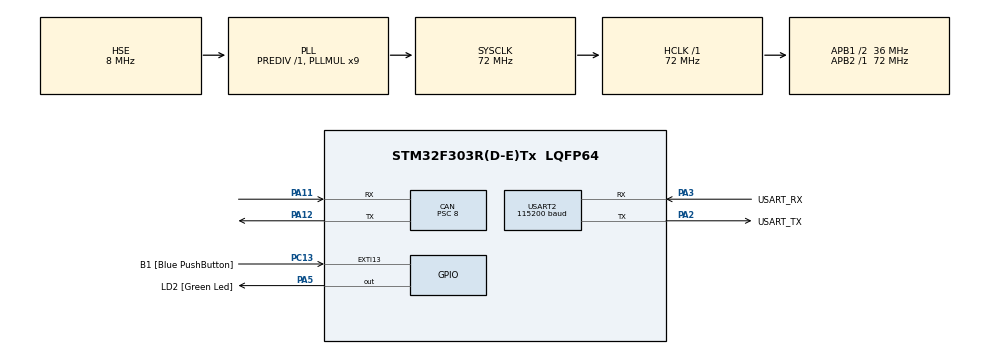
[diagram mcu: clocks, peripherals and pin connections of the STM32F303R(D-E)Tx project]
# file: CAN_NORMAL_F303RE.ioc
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CAN.BS1=CAN_BS1_12TQ
CAN.BS2=CAN_BS2_5TQ
CAN.CalculateBaudRate=250000
CAN.CalculateTimeBit=4000
CAN.CalculateTimeQuantum=222.22222222222223
CAN.Prescaler=8
CAN.SJW=CAN_SJW_1TQ
Mcu.Family=STM32F3
Mcu.Name=STM32F303R(D-E)Tx
Mcu.Package=LQFP64
NVIC.EXTI15_10_IRQn=true\:0\:0\:false\:false\:true\:true\:true\:true
NVIC.PriorityGroup=NVIC_PRIORITYGROUP_0
NVIC.USB_LP_CAN_RX0_IRQn=true\:0\:0\:false\:false\:true\:true\:true\:true
PA11.Mode=CAN_Activate
PA11.Signal=CAN_RX
PA12.Mode=CAN_Activate
PA12.Signal=CAN_TX
PA13.GPIO_Label=TMS
PA13.Mode=Serial_Wire
PA13.Signal=SYS_JTMS-SWDIO
PA14.GPIO_Label=TCK
PA14.Mode=Serial_Wire
PA14.Signal=SYS_JTCK-SWCLK
PA2.GPIO_Label=USART_TX
PA2.GPIO_Mode=GPIO_MODE_AF_PP
PA2.GPIO_PuPd=GPIO_NOPULL
PA2.GPIO_Speed=GPIO_SPEED_FREQ_LOW
PA2.Mode=Asynchronous
PA2.Signal=USART2_TX
PA3.GPIO_Label=USART_RX
PA3.GPIO_Mode=GPIO_MODE_AF_PP
PA3.GPIO_PuPd=GPIO_NOPULL
PA3.GPIO_Speed=GPIO_SPEED_FREQ_LOW
PA3.Mode=Asynchronous
PA3.Signal=USART2_RX
PA5.GPIO_Label=LD2 [Green Led]
PA5.GPIO_Mode=GPIO_MODE_OUTPUT_PP
PA5.GPIO_PuPd=GPIO_NOPULL
PA5.GPIO_Speed=GPIO_SPEED_FREQ_LOW
PA5.Signal=GPIO_Output
PB3.GPIO_Label=SWO
PB3.Signal=SYS_JTDO-TRACESWO
PC13.GPIO_Label=B1 [Blue PushButton]
PC13.GPIO_ModeDefaultEXTI=GPIO_MODE_IT_FALLING
PC13.Signal=GPXTI13
PC14-OSC32_IN.Signal=RCC_OSC32_IN
PC15-OSC32_OUT.Signal=RCC_OSC32_OUT
PF0-OSC_IN.Mode=HSE-External-Oscillator
PF0-OSC_IN.Signal=RCC_OSC_IN
PF1-OSC_OUT.Mode=HSE-External-Oscillator
PF1-OSC_OUT.Signal=RCC_OSC_OUT
ProjectManager.HeapSize=0x200
ProjectManager.StackSize=0x400
ProjectManager.TargetToolchain=STM32CubeIDE
RCC.AHBFreq_Value=72000000
RCC.APB1CLKDivider=RCC_HCLK_DIV2
RCC.APB1Freq_Value=36000000
RCC.APB1TimFreq_Value=72000000
RCC.APB2Freq_Value=72000000
RCC.APB2TimFreq_Value=72000000
RCC.CortexFreq_Value=72000000
RCC.DATA_CACHE_ENABLE=1
RCC.HCLKFreq_Value=72000000
RCC.HSE_VALUE=8000000
RCC.HSI_VALUE=8000000
RCC.INSTRUCTION_CACHE_ENABLE=1
RCC.LSE_VALUE=32768
RCC.PLLM=8
RCC.PLLMUL=RCC_PLL_MUL9
RCC.PLLN=336
RCC.PLLP=RCC_PLLP_DIV4
RCC.PLLQ=7
RCC.PLLSourceVirtual=RCC_PLLSOURCE_HSE
RCC.PWR_Regulator_Voltage_Scale=PWR_REGULATOR_VOLTAGE_SCALE1
RCC.RCC_PLLsource_Clock_Source_FROM_HSE=RCC_HSE_PREDIV_DIV2
RCC.SYSCLKFreq_VALUE=72000000
RCC.SYSCLKSourceVirtual=RCC_SYSCLKSOURCE_PLLCLK
RCC.USBFreq_Value=72000000
USART2.BaudRate=115200
USART2.VirtualMode-Asynchronous=VM_ASYNC
board=NUCLEO-F303RE

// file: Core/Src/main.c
/* USER CODE BEGIN Header */
/**
  ******************************************************************************
  * @file           : main.c
  * @brief          : Main program body
  ******************************************************************************
  * @attention
  *
  * Copyright (c) 2025 STMicroelectronics.
  * All rights reserved.
  *
  * This software is licensed under terms that can be found in the LICENSE file
  * in the root directory of this software component.
  * If no LICENSE file comes with this software, it is provided AS-IS.
  *
  ******************************************************************************
  */
/* USER CODE END Header */
#include "main.h"

/* USER CODE BEGIN Includes */
#include "main.h"
#include "CANMessages.h"
#include <string.h>
#include <stdio.h>
/* USER CODE END Includes */

/* USER CODE BEGIN PD */
#define NODE_ID 0x00
/* USER CODE END PD */

CAN_HandleTypeDef hcan;

UART_HandleTypeDef huart2;

/* USER CODE BEGIN PV */
typedef enum {
    MODE_POSITION = 0,
    MODE_VELOCITY = 1
} ControlMode_t;

ControlMode_t currentMode = MODE_VELOCITY;
/* USER CODE END PV */

void SystemClock_Config(void);
static void MX_GPIO_Init(void);
static void MX_USART2_UART_Init(void);
static void MX_CAN_Init(void);
/* USER CODE BEGIN PFP */
/* The below code allows user to setup scanf and printf functions inside via
 * serial console, read the entire documentation below for more details:
 * FORUM LINK BELOW: https://forum.digikey.com/t/easily-use-scanf-on-stm32/21103
 * */
#ifdef __GNUC__
#define PUTCHAR_PROTOTYPE int __io_putchar(int ch)
#define GETCHAR_PROTOTYPE int __io_getchar(void)
#else
#define PUTCHAR_PROTOTYPE int fputc(int ch, FILE *f)
#define GETCHAR_PROTOTYPE int fgetc(FILE *f)
#endif

PUTCHAR_PROTOTYPE
{
  HAL_UART_Transmit(&huart2, (uint8_t *)&ch, 1, HAL_MAX_DELAY);
  return ch;
}

GETCHAR_PROTOTYPE
{
  uint8_t ch = 0;

  /* Clear the Overrun flag just before receiving the first character */
  __HAL_UART_CLEAR_OREFLAG(&huart2);

  /* Wait for reception of a character on the USART RX line and echo this
   * character on console */
  HAL_UART_Receive(&huart2, (uint8_t *)&ch, 1, HAL_MAX_DELAY);
  HAL_UART_Transmit(&huart2, (uint8_t *)&ch, 1, HAL_MAX_DELAY);
  return ch;
}

void floatToUpperBytes(float val, uint8_t* byteArr);
void floatToLowerBytes(float val, uint8_t* byteArr);
void motorCalibration(CAN_TxHeaderTypeDef TxHeader);
void setVelocityMode(CAN_TxHeaderTypeDef TxHeader);
/* USER CODE END PFP */

/* USER CODE BEGIN 0 */
CAN_TxHeaderTypeDef TxHeader;
CAN_RxHeaderTypeDef RxHeader;

uint8_t TxData[8] = {0x00, 0x00, 0x00, 0x00, // IEEE 754 float: vel : 2 rev/s: UPPER BYTES
					 0x00, 0x00, 0x00, 0x00}; // IEEE 754 float: torque : 0: LOWER BYTES
uint8_t RxData[8];

uint32_t TxMailbox;

/*
 * Parameters:
 *  float val: Input float value for conversion to bytes
 *  uint8_t* byteArr: Array of bytes with size of 8
 *
 * Function:
 * 	converts a 4 byte float value and fill in bytes 0-3 in an 8 bytes array in little endian
*/
void floatToUpperBytes(float val, uint8_t* byteArr) {
  union {
    float var;
    uint8_t buf[sizeof(float)];
  } u;
  u.var = val;
  memcpy(byteArr, u.buf, sizeof(float)); // Write to bytes 0–3
}

/*
* Same function and parameters as above but instead writes to bytes 4-7
*/
void floatToLowerBytes(float val, uint8_t* byteArr) {
  union {
    float var;
    uint8_t buf[sizeof(float)];
  } u;
  u.var = val;
  memcpy(byteArr + 4, u.buf, sizeof(float)); // Write to bytes 4–7
}

void motorCalibration(CAN_TxHeaderTypeDef TxHeader) {
	uint8_t axisState[8];
	TxHeader.StdId = (NODE_ID << 5) | 0x07;
	TxHeader.IDE = CAN_ID_STD;
	TxHeader.RTR = CAN_RTR_DATA;
	TxHeader.DLC = 8;

	axisState[0] = 0x03; // FULL_CALIBRATION_SEQUENCE

	HAL_CAN_AddTxMessage(&hcan, &TxHeader, axisState, &TxMailbox);
}

void setPositionCommand(float position) {
    // Set Position Mode
    memset(TxData, 0, sizeof(TxData));
    TxHeader.StdId = (NODE_ID << 5) | 0x0B;
    TxHeader.IDE = CAN_ID_STD;
    TxHeader.RTR = CAN_RTR_DATA;
    TxHeader.DLC = 8;

    TxData[0] = 0x01; // InputMode.PASSTHROUGH
    TxData[4] = 0x03; // ControlMode.POSITION_CONTROL
    HAL_CAN_AddTxMessage(&hcan, &TxHeader, TxData, &TxMailbox);

    // Set Closed Loop State
    memset(TxData, 0, sizeof(TxData));
    TxHeader.StdId = (NODE_ID << 5) | 0x07;
    TxData[0] = 0x08; // AXIS_STATE_CLOSED_LOOP_CONTROL
    HAL_CAN_AddTxMessage(&hcan, &TxHeader, TxData, &TxMailbox);

    // Send Position Command
    memset(TxData, 0, sizeof(TxData));
    TxHeader.StdId = (NODE_ID << 5) | 0x0C;
    TxHeader.DLC = 8;
    floatToUpperBytes(position, TxData);
    HAL_CAN_AddTxMessage(&hcan, &TxHeader, TxData, &TxMailbox);
}

void setVelocityCommand(float velocity) {
    // Set Velocity Mode
    memset(TxData, 0, sizeof(TxData));
    TxHeader.StdId = (NODE_ID << 5) | 0x0B;
    TxHeader.IDE = CAN_ID_STD;
    TxHeader.RTR = CAN_RTR_DATA;
    TxHeader.DLC = 8;

    TxData[0] = 0x02; // InputMode.PASSTHROUGH
    TxData[4] = 0x01; // ControlMode.VELOCITY_CONTROL
    HAL_CAN_AddTxMessage(&hcan, &TxHeader, TxData, &TxMailbox);

    // Set Closed Loop State
    memset(TxData, 0, sizeof(TxData));
    TxHeader.StdId = (NODE_ID << 5) | 0x07;
    TxData[0] = 0x08; // AXIS_STATE_CLOSED_LOOP_CONTROL
    HAL_CAN_AddTxMessage(&hcan, &TxHeader, TxData, &TxMailbox);

    // Send Velocity Command
    memset(TxData, 0, sizeof(TxData));
    TxHeader.StdId = (NODE_ID << 5) | 0x0D;
    TxHeader.DLC = 8;
    floatToUpperBytes(velocity, TxData);
    HAL_CAN_AddTxMessage(&hcan, &TxHeader, TxData, &TxMailbox);
}
/* USER CODE END 0 */

int main(void)
{

  /* MCU Configuration--------------------------------------------------------*/

  /* Reset of all peripherals, Initializes the Flash interface and the Systick. */
  HAL_Init();

  /* Configure the system clock */
  SystemClock_Config();

  /* Initialize all configured peripherals */
  MX_GPIO_Init();
  MX_USART2_UART_Init();
  MX_CAN_Init();
  /* USER CODE BEGIN 2 */

  HAL_CAN_Start(&hcan);
  setvbuf(stdin, NULL, _IONBF, 0); // for scanf setup, avoiding errors in syscalls.c

  int cmd_id = 0;
  int dlc = 0;
  float value = 0.0;

  /* USER CODE END 2 */

  /* Infinite loop */
  /* USER CODE BEGIN WHILE */
  // motorCalibration(TxHeader); // calibrate the motor for one time

  while (1)
  {
	if (scanf("%x", &cmd_id) == 'z') {
		printf("Full Calibration \r\n");
		motorCalibration(TxHeader);
	}

	if (scanf("%x %d %f", &cmd_id, &dlc, &value) == 3)
	{
		printf("packet sent: CMD:0x%x, DLC:%d, VALUE:%f \r\n", cmd_id, dlc, value);
		memset(TxData, 0, sizeof(TxData));

	      switch (cmd_id) {
	          case 0x0c: // Position command
	              setPositionCommand(value);
	              break;
	          case 0x0d: // Velocity command
	              setVelocityCommand(value);
	              break;
	          default:
	              break;
	    }

		TxHeader.StdId = (NODE_ID << 5) | cmd_id;
		TxHeader.IDE = CAN_ID_STD;
		TxHeader.RTR = CAN_RTR_DATA;
		TxHeader.DLC = dlc;

		// example usage: "0x0D 8 2.0" VELOCITY_MODE with DLC = 8 and spinning at INPUT_VEL 2 rev/s
		floatToUpperBytes(value, TxData); // setting bytes 0-3
		//		floatToLowerBytes(lowerVal, TxData); // setting bytes 4-7
		HAL_CAN_AddTxMessage(&hcan, &TxHeader, TxData, &TxMailbox);
	}
    /* USER CODE END WHILE */

  }
}

void SystemClock_Config(void)
{
  RCC_OscInitTypeDef RCC_OscInitStruct = {0};
  RCC_ClkInitTypeDef RCC_ClkInitStruct = {0};
  RCC_PeriphCLKInitTypeDef PeriphClkInit = {0};

  /** Initializes the RCC Oscillators according to the specified parameters
  * in the RCC_OscInitTypeDef structure.
  */
  RCC_OscInitStruct.OscillatorType = RCC_OSCILLATORTYPE_HSE;
  RCC_OscInitStruct.HSEState = RCC_HSE_ON;
  RCC_OscInitStruct.HSIState = RCC_HSI_ON;
  RCC_OscInitStruct.PLL.PLLState = RCC_PLL_ON;
  RCC_OscInitStruct.PLL.PLLSource = RCC_PLLSOURCE_HSE;
  RCC_OscInitStruct.PLL.PLLMUL = RCC_PLL_MUL9;
  RCC_OscInitStruct.PLL.PREDIV = RCC_PREDIV_DIV1;
  if (HAL_RCC_OscConfig(&RCC_OscInitStruct) != HAL_OK)
  {
    Error_Handler();
  }

  /** Initializes the CPU, AHB and APB buses clocks
  */
  RCC_ClkInitStruct.ClockType = RCC_CLOCKTYPE_HCLK|RCC_CLOCKTYPE_SYSCLK
                              |RCC_CLOCKTYPE_PCLK1|RCC_CLOCKTYPE_PCLK2;
  RCC_ClkInitStruct.SYSCLKSource = RCC_SYSCLKSOURCE_PLLCLK;
  RCC_ClkInitStruct.AHBCLKDivider = RCC_SYSCLK_DIV1;
  RCC_ClkInitStruct.APB1CLKDivider = RCC_HCLK_DIV2;
  RCC_ClkInitStruct.APB2CLKDivider = RCC_HCLK_DIV1;

  if (HAL_RCC_ClockConfig(&RCC_ClkInitStruct, FLASH_LATENCY_2) != HAL_OK)
  {
    Error_Handler();
  }
  PeriphClkInit.PeriphClockSelection = RCC_PERIPHCLK_USART2;
  PeriphClkInit.Usart2ClockSelection = RCC_USART2CLKSOURCE_PCLK1;
  if (HAL_RCCEx_PeriphCLKConfig(&PeriphClkInit) != HAL_OK)
  {
    Error_Handler();
  }
}

static void MX_CAN_Init(void)
{

  hcan.Instance = CAN;
  hcan.Init.Prescaler = 8;
  hcan.Init.Mode = CAN_MODE_NORMAL;
  hcan.Init.SyncJumpWidth = CAN_SJW_1TQ;
  hcan.Init.TimeSeg1 = CAN_BS1_12TQ;
  hcan.Init.TimeSeg2 = CAN_BS2_5TQ;
  hcan.Init.TimeTriggeredMode = DISABLE;
  hcan.Init.AutoBusOff = DISABLE;
  hcan.Init.AutoWakeUp = DISABLE;
  hcan.Init.AutoRetransmission = DISABLE;
  hcan.Init.ReceiveFifoLocked = DISABLE;
  hcan.Init.TransmitFifoPriority = DISABLE;
  if (HAL_CAN_Init(&hcan) != HAL_OK)
  {
    Error_Handler();
  }

}

static void MX_USART2_UART_Init(void)
{

  huart2.Instance = USART2;
  huart2.Init.BaudRate = 115200;
  huart2.Init.WordLength = UART_WORDLENGTH_8B;
  huart2.Init.StopBits = UART_STOPBITS_1;
  huart2.Init.Parity = UART_PARITY_NONE;
  huart2.Init.Mode = UART_MODE_TX_RX;
  huart2.Init.HwFlowCtl = UART_HWCONTROL_NONE;
  huart2.Init.OverSampling = UART_OVERSAMPLING_16;
  huart2.Init.OneBitSampling = UART_ONE_BIT_SAMPLE_DISABLE;
  huart2.AdvancedInit.AdvFeatureInit = UART_ADVFEATURE_NO_INIT;
  if (HAL_UART_Init(&huart2) != HAL_OK)
  {
    Error_Handler();
  }

}

static void MX_GPIO_Init(void)
{
  GPIO_InitTypeDef GPIO_InitStruct = {0};

  /* GPIO Ports Clock Enable */
  __HAL_RCC_GPIOC_CLK_ENABLE();
  __HAL_RCC_GPIOF_CLK_ENABLE();
  __HAL_RCC_GPIOA_CLK_ENABLE();
  __HAL_RCC_GPIOB_CLK_ENABLE();

  /*Configure GPIO pin Output Level */
  HAL_GPIO_WritePin(LD2_GPIO_Port, LD2_Pin, GPIO_PIN_RESET);

  /*Configure GPIO pin : B1_Pin */
  GPIO_InitStruct.Pin = B1_Pin;
  GPIO_InitStruct.Mode = GPIO_MODE_IT_FALLING;
  GPIO_InitStruct.Pull = GPIO_NOPULL;
  HAL_GPIO_Init(B1_GPIO_Port, &GPIO_InitStruct);

  /*Configure GPIO pin : LD2_Pin */
  GPIO_InitStruct.Pin = LD2_Pin;
  GPIO_InitStruct.Mode = GPIO_MODE_OUTPUT_PP;
  GPIO_InitStruct.Pull = GPIO_NOPULL;
  GPIO_InitStruct.Speed = GPIO_SPEED_FREQ_LOW;
  HAL_GPIO_Init(LD2_GPIO_Port, &GPIO_InitStruct);

  /* EXTI interrupt init*/
  HAL_NVIC_SetPriority(EXTI15_10_IRQn, 0, 0);
  HAL_NVIC_EnableIRQ(EXTI15_10_IRQn);

}

void Error_Handler(void)
{
  __disable_irq();
  while (1)
  {
  }
}
